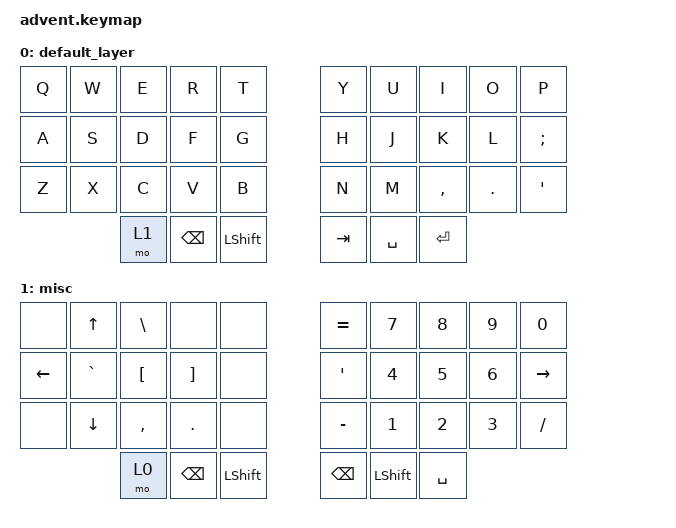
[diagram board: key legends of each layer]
/*
 * Copyright (c) 2020 The ZMK Contributors
 *
 * SPDX-License-Identifier: MIT
 */

#include <behaviors.dtsi>
#include <dt-bindings/zmk/keys.h>

#define DEFAULT 0
#define MISC 1

/ {
	keymap {
		compatible = "zmk,keymap";


		default_layer {
		bindings = <
		&kp Q &kp W &kp E       &kp R     &kp T	        &kp Y   &kp U     &kp I     &kp O       &kp P
		&kp A &kp S &kp D       &kp F     &kp G	        &kp H   &kp J     &kp K     &kp L       &kp SEMICOLON
		&kp Z &kp X &kp C       &kp V     &kp B	        &kp N   &kp M     &kp COMMA &kp PERIOD  &kp APOS
			    &mo 1  &kp BSPC   &kp LSHIFT	&kp TAB &kp SPACE &kp ENTER
		>;
		};    
		
		misc {
		bindings = <
		&none &kp UP       &kp BACKSLASH    &none             &none		&kp EQUAL      &kp N7     &kp N8 &kp N9 &kp N0
		&kp LEFT &kp GRAVE &kp LEFT_BRACKET &kp RIGHT_BRACKET &none  	        &kp APOSTROPHE &kp N4     &kp N5 &kp N6 &kp RIGHT
		&none &kp DOWN     &kp COMMA        &kp PERIOD        &none		&kp MINUS      &kp N1     &kp N2 &kp N3 &kp SLASH
			           &mo 0            &kp BSPC          &kp LSHIFT	&kp BSPC       &kp LSHIFT &kp SPACE
		>;
		};    		
	};
};
